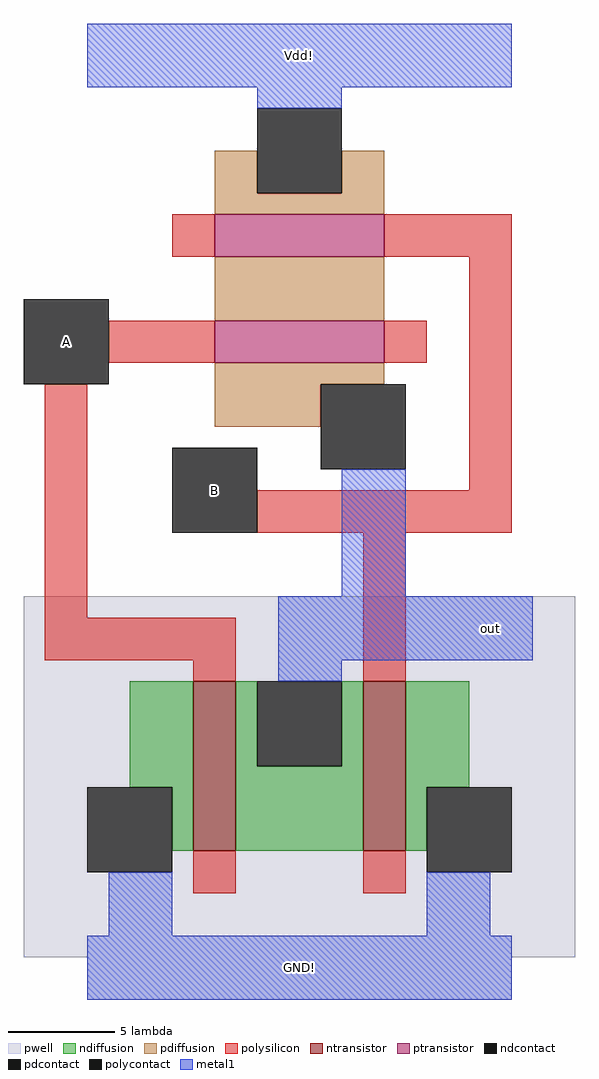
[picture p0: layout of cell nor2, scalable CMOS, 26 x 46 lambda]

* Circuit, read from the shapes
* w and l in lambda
.subckt nor2 A B GND! Vdd! out
M1 out A GND! VSUBS nfet w=8 l=2
M2 GND! B out VSUBS nfet w=8 l=2
M3 n1 A out NWELL pfet w=8 l=2
M4 Vdd! B n1 NWELL pfet w=8 l=2
.ends

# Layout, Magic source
magic
tech scmos
<< pwell >>
rect -22 -28 4 -11
rect -19 -30 1 -28
<< polysilicon >>
rect -15 5 -13 7
rect -5 5 1 7
rect -18 0 -13 2
rect -5 0 -3 2
rect -21 -12 -19 -1
rect -1 -6 1 5
rect -11 -8 1 -6
rect -21 -14 -12 -12
rect -14 -15 -12 -14
rect -6 -15 -4 -8
rect -14 -25 -12 -23
rect -6 -25 -4 -23
<< ndiffusion >>
rect -17 -20 -14 -15
rect -15 -23 -14 -20
rect -12 -19 -11 -15
rect -7 -19 -6 -15
rect -12 -23 -6 -19
rect -4 -20 -1 -15
rect -4 -23 -3 -20
<< pdiffusion >>
rect -13 8 -11 10
rect -7 8 -5 10
rect -13 7 -5 8
rect -13 2 -5 5
rect -13 -1 -5 0
rect -13 -3 -8 -1
<< metal1 >>
rect -19 13 1 16
rect -11 12 -7 13
rect -7 -11 -4 -5
rect -10 -14 2 -11
rect -10 -15 -7 -14
rect -18 -27 -15 -24
rect -3 -27 0 -24
rect -19 -30 1 -27
<< ntransistor >>
rect -14 -23 -12 -15
rect -6 -23 -4 -15
<< ptransistor >>
rect -13 5 -5 7
rect -13 0 -5 2
<< polycontact >>
rect -22 -1 -18 3
rect -15 -8 -11 -4
<< ndcontact >>
rect -19 -24 -15 -20
rect -11 -19 -7 -15
rect -3 -24 1 -20
<< pdcontact >>
rect -11 8 -7 12
rect -8 -5 -4 -1
<< labels >>
rlabel metal1 -19 13 1 16 1 Vdd!
rlabel metal1 -19 -30 1 -27 5 GND!
rlabel polycontact -22 -1 -18 3 7 A
rlabel polycontact -15 -8 -11 -4 7 B
rlabel metal1 -2 -14 2 -11 3 out
<< end >>
